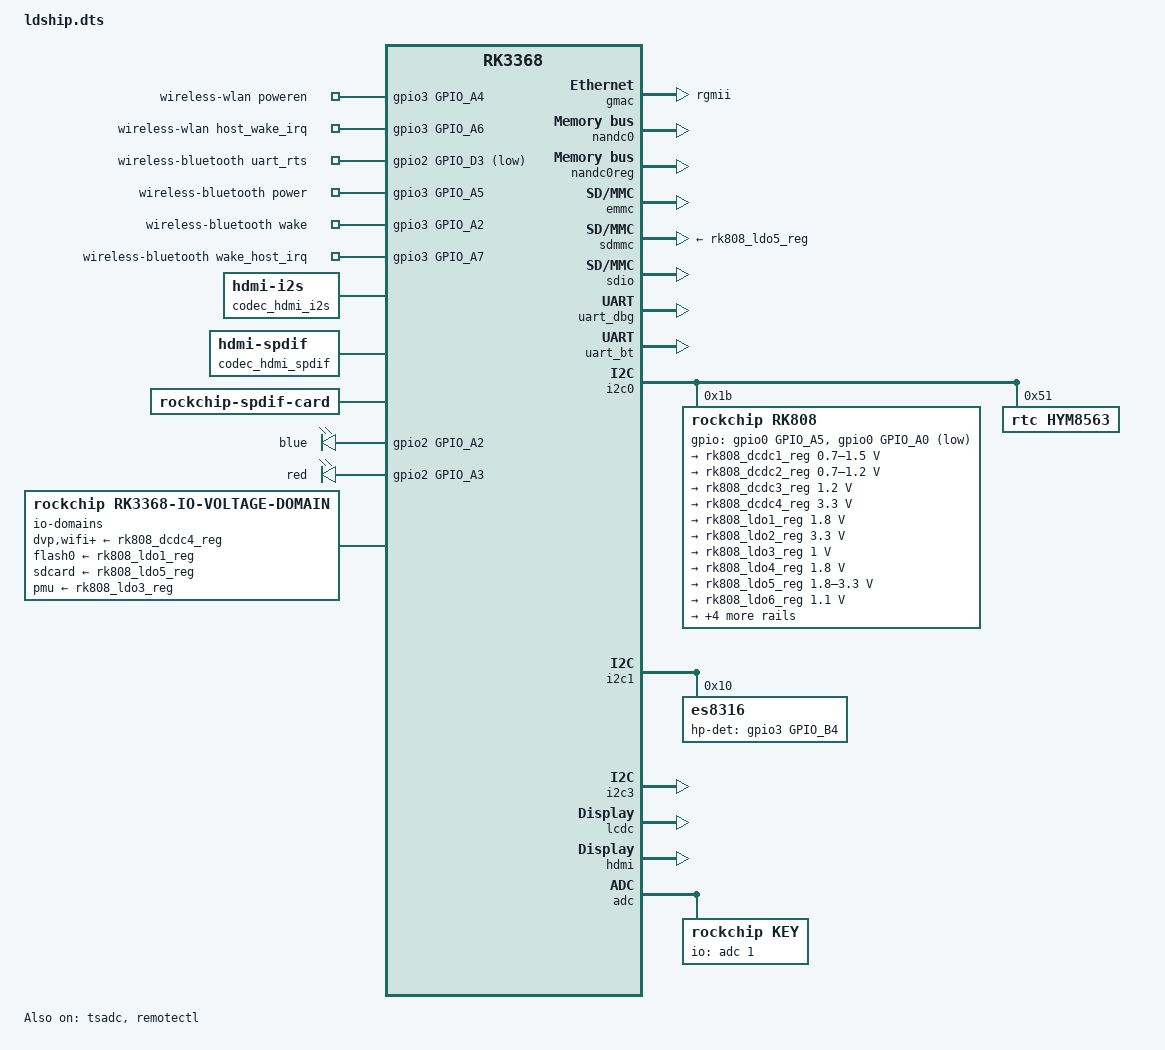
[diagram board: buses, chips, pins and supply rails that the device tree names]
/dts-v1/;

// rk3368-box-r88_808.dts
#include <dt-bindings/interrupt-controller/arm-gic.h>
#include <dt-bindings/rkfb/rk_fb.h>
#include <dt-bindings/input/input.h>
#include "rk3368.dtsi"
#include "../../../arm/boot/dts/lcd-box.dtsi"


/ {
	chosen {
		bootargs = "earlyprintk=uart8250-32bit,0xff690000";
	};

	wireless-wlan {
		compatible = "wlan-platdata";
                rockchip,grf = <&grf>;
                wifi_chip_type = "ap6354";

		sdio_vref = <1800>; //1800mv or 3300mv

		//keep_wifi_power_on;

		//power_ctrl_by_pmu;	// gQues
 		power_pmu_regulator = "rk808_ldo7_reg";
		power_pmu_enable_level = <1>; //1->HIGH, 0->LOW

		vref_pmu_regulator = "rk808_ldo7_reg";
		vref_pmu_enable_level = <1>; //1->HIGH, 0->LOW

		WIFI,poweren_gpio = <&gpio3 GPIO_A4 GPIO_ACTIVE_HIGH>;
		WIFI,host_wake_irq = <&gpio3 GPIO_A6 GPIO_ACTIVE_HIGH>;

		status = "okay";
	};

	wireless-bluetooth {
		compatible = "bluetooth-platdata";

		//wifi-bt-power-toggle;

		uart_rts_gpios = <&gpio2 GPIO_D3 GPIO_ACTIVE_LOW>;
		pinctrl-names = "default","rts_gpio";
		pinctrl-0 = <&uart0_rts>;
		pinctrl-1 = <&uart0_rts_gpio>;

		BT,power_gpio = <&gpio3 GPIO_A5 GPIO_ACTIVE_HIGH>;
		BT,wake_gpio = <&gpio3 GPIO_A2 GPIO_ACTIVE_HIGH>;
		BT,wake_host_irq = <&gpio3 GPIO_A7 GPIO_ACTIVE_HIGH>;
		status = "okay";
	};

	codec_hdmi_i2s: codec-hdmi-i2s {
		compatible = "hdmi-i2s";
	};

	codec_hdmi_spdif: codec-hdmi-spdif {
		compatible = "hdmi-spdif";
	};

	rockchip-hdmi-i2s {
		status = "disabled";
		compatible = "rockchip-hdmi-i2s";
		dais {
			dai0 {
				audio-codec = <&codec_hdmi_i2s>;
				i2s-controller = <&i2s0>;
				format = "i2s";
			};
		};
	};
	
	rockchip-spdif-card {
			compatible = "rockchip-spdif-card";
			dais {
				dai0 {
					audio-codec = <&codec_hdmi_spdif>;
					i2s-controller = <&spdif>;
				};
			};
		};
	rockchip-es8316 {
		compatible = "rockchip-es8316";
		dais {
			dai0 {
				audio-codec = <&es8316>;
				i2s-controller = <&i2s0>;
				format = "i2s";
			};
		};
	};
	power-led {
		compatible = "gpio-leds";
		blue {
			gpios = <&gpio2 GPIO_A2 GPIO_ACTIVE_HIGH>;
			default-state = "on";
		};
		red {
			gpios = <&gpio2 GPIO_A3 GPIO_ACTIVE_HIGH>;
			default-state = "off";
		};
	};
	io-domains {
		compatible = "rockchip,rk3368-io-voltage-domain";
		rockchip,grf = <&grf>;
		rockchip,pmugrf = <&pmugrf>;

		/*GRF_IO_VSEL*/
		dvp-supply = <&rk808_dcdc4_reg>;      /*DVPIO_VDD*/
		flash0-supply = <&rk808_ldo1_reg>;  /*FLASH0_VDD*/
		wifi-supply = <&rk808_dcdc4_reg>;     /*APIO2_VDD*/
		audio-supply = <&rk808_dcdc4_reg>;   /*APIO3_VDD*/
		sdcard-supply = <&rk808_ldo5_reg>;   /*SDMMC0_VDD*/
		gpio30-supply = <&rk808_dcdc4_reg>;  /*APIO1_VDD*/
		gpio1830-supply = <&rk808_dcdc4_reg>;/*ADIO4_VDD*/
		
		/*PMU_GRF_IO_VSEL*/
		pmu-supply = <&rk808_ldo3_reg>;      /*PMUIO_VDD*/
		vop-supply = <&rk808_ldo8_reg>;      /*LCDC_VDD*/
	};
};

&gmac_clkin {
        clock-frequency = <125000000>;
};

&gmac {
	phy-mode = "rgmii";
	pinctrl-names = "default";
	pinctrl-0 = <&rgmii_pins>;
	clock_in_out = "input";
	tx_delay = <0x28>;
	rx_delay = <0x10>;
	status = "okay";
};

&pinctrl {
	//used for init some gpio
	init-gpios = <&gpio0 GPIO_A6 GPIO_ACTIVE_HIGH
	&gpio0 GPIO_B1 GPIO_ACTIVE_LOW>;
	
	gpio0_gpio {
		gpio0_c7: gpio0-c7 {
		rockchip,pins = <0 GPIO_C7 RK_FUNC_GPIO &pcfg_pull_down>;
	};
	gpio0_a3: gpio0-a3 {
		rockchip,pins = <0 GPIO_A3 RK_FUNC_3 &pcfg_pull_none>;
	};
	gpio0_c2: gpio0-c2 {
		rockchip,pins = <0 GPIO_C2 RK_FUNC_GPIO &pcfg_pull_down>;
	};
	gpio0_a5: gpio0-a5{
		rockchip,pins = <0 GPIO_A5 RK_FUNC_GPIO &pcfg_pull_up>;
	};
	//to add
	};

};

&nandc0 {
	status = "okay"; // used nand set "disabled" ,used emmc set "okay"
};

&nandc0reg {
	status = "okay"; // used nand set "disabled" ,used emmc set "okay"
};

&emmc {
	clock-frequency = <150000000>;
	clock-freq-min-max = <400000 150000000>;

	supports-highspeed;
	supports-emmc;
	bootpart-no-access;

	//supports-sd;
	supports-DDR_MODE; //you should set the two value in your project. only close in RK3288-SDK board.
	caps2-mmc-hs200;

	ignore-pm-notify;
	keep-power-in-suspend;

	//poll-hw-reset
	status = "okay";
};

&sdmmc {
	clock-frequency = <50000000>;
	clock-freq-min-max = <400000 50000000>;
	supports-highspeed;
	supports-sd;
	broken-cd;
	card-detect-delay = <200>;
	
	ignore-pm-notify;
	keep-power-in-suspend;
	
	vmmc-supply = <&rk808_ldo5_reg>;
	status = "okay";
};

&sdio {
	clock-frequency = <50000000>;
	clock-freq-min-max = <200000 50000000>;
	supports-highspeed;
	supports-sdio;
	ignore-pm-notify;
	keep-power-in-suspend;
	//cap-sdio-irq;
	status = "okay";
};

&uart_dbg {
	status = "okay";
};

&uart_bt {
	status = "okay";
	dma-names = "!tx", "!rx";
	pinctrl-0 = <&uart0_xfer &uart0_cts>;
};

&tsadc {
       tsadc-tshut-mode = <0>; /* tshut mode 0:CRU 1:GPIO */
       //tsadc-tshut-polarity = <0>; /* tshut polarity 0:LOW 1:HIGH */
       status = "okay";
};

&i2c0 {
	status = "okay";
	rk808: rk808@1b {
		reg = <0x1b>;
		status = "okay";
		compatible = "rockchip,rk808";
	};	
	rtc@51 {
		compatible = "rtc,hym8563";
		reg = <0x51>;
		/*box not used rtc irq,and this pin used as rk1000 spk ctrl*/
		#irq_gpio = <&gpio0 GPIO_A1 IRQ_TYPE_EDGE_FALLING>;
	};

};

&i2c1 {
	status = "okay";
	es8316: es8316@10 {
		compatible = "es8316";
		reg = <0x10>;
		hp-det-gpio = <&gpio3 GPIO_B4 GPIO_ACTIVE_HIGH>;
		status = "okay";
	};
};

&i2c2 {
	status = "disabled";
};

&i2c3 {
	status = "okay";
};

&i2c4 {
	status = "disabled";
};

&i2c5 {
	status = "disabled";
};

&CPU_SLEEP_0 {
	arm,psci-suspend-param = <0x1010000>;
};

&fb {
	rockchip,disp-mode = <NO_DUAL>;
	rockchip,uboot-logo-on = <1>;
	rockchip,disp-policy = <DISPLAY_POLICY_BOX_TEMP>;
};

&rk_screen {
	display-timings = <&disp_timings>;
};

&disp_timings {
	native-mode = <&timing1>;
};


&lcdc {
	status = "okay";
	rockchip,mirror = <NO_MIRROR>;
	rockchip,cabc_mode = <0>;
	rockchip,fb-win-map = <FB_DEFAULT_ORDER>;
	pinctrl-names = "default", "gpio";
	pinctrl-0 = <&lcdc_lcdc>;
	pinctrl-1 = <&lcdc_gpio>;

	power_ctr: power_ctr {
		rockchip,debug = <0>;
		/*lcd_en:lcd_en {
			rockchip,power_type = <GPIO>;
			gpios = <&gpio1 GPIO_D5 GPIO_ACTIVE_LOW>;
			rockchip,delay = <10>;
		};*/
	};
};

&edp{
	status = "disabled";
};

&dsihost0{
	status = "disabled";
};

&hdmi {
	status = "okay";
	rockchip,cec_enable = <1>;
};

&adc {
	status = "okay";

	key {
		compatible = "rockchip,key";
		io-channels = <&adc 1>;

		power-key {
			gpios = <&gpio0 GPIO_A2 GPIO_ACTIVE_LOW>;
			linux,code = <116>;
			label = "power";
			gpio-key,wakeup;
		};

	};
};

&pwm1 {
        status = "disabled";
};

&clk_core_b_dvfs_table {
	operating-points = <
		/* KHz    uV */
		//216000 950000
		312000 950000
		408000 950000
		600000 975000
		696000 975000
		816000 1000000
		1008000 1100000
		1200000 1175000
		1416000 1300000
		1488000 1325000
		1512000 1350000
		>;
	status = "okay";
};

&clk_core_l_dvfs_table {
	operating-points = <
		/* KHz    uV */
		//216000 950000
		312000 950000
		408000 950000
		600000 950000
		696000 975000
		816000 1050000
		1008000 1100000
		1200000 1250000
		//1300000 1300000
		>;
	status = "okay";
};

&clk_gpu_dvfs_table {
	operating-points = <
		/* KHz    uV */
		//200000 1200000
		300000 1200000
		400000 1200000
		600000 1200000
		>;
};

&clk_ddr_dvfs_table {
	operating-points = <
		/* KHz    uV */
		200000 1050000
		300000 1050000
		400000 1100000
		533000 1150000
		800000 1200000
		>;

	freq-table = <
		/*status		freq(KHz)*/
		SYS_STATUS_NORMAL	800000
		/*SYS_STATUS_SUSPEND	200000
		SYS_STATUS_VIDEO_1080P  240000
		SYS_STATUS_VIDEO_4K     400000
		SYS_STATUS_PERFORMANCE  528000
		SYS_STATUS_DUALVIEW	400000
		SYS_STATUS_BOOST	324000
		SYS_STATUS_ISP		400000*/
		>;
	auto-freq-table = <
		240000
		324000
		396000
		528000
		>;
	auto-freq=<0>;
	status="okay";
};

&dwc_control_usb {
		otg_drv_gpio = <&gpio0 GPIO_A4 GPIO_ACTIVE_LOW>;

		rockchip,remote_wakeup;
		rockchip,usb_irq_wakeup;
	};
	
&usb0 {
	/*0 - Normal, 1 - Force Host, 2 - Force Device*/
	rockchip,usb-mode = <0>;
};

#include  "../../../arm/boot/dts/rk808.dtsi"
&rk808 {
	gpios =<&gpio0 GPIO_A5 GPIO_ACTIVE_HIGH>,<&gpio0 GPIO_A0 GPIO_ACTIVE_LOW>;
	rk808,system-power-controller;

	regulators {

		rk808_dcdc1_reg: regulator@0{
			regulator-name= "vdd_arm";/*vcc arm*/
			regulator-min-microvolt = <700000>;/*<725000>;*/
			regulator-max-microvolt = <1500000>;
			regulator-always-on;
			regulator-boot-on;
			regulator-initial-mode = <0x2>;
			regulator-initial-state = <3>;
			regulator-state-mem {
				regulator-state-mode = <0x2>;
				regulator-state-disabled;
				regulator-state-uv =<900000>;
			};
		};

		rk808_dcdc2_reg: regulator@1 {
			regulator-name= "vdd_logic";/*vcc gpu*/
			regulator-min-microvolt = <700000>;
			regulator-max-microvolt = <1200000>;
			regulator-always-on;
			regulator-boot-on;
			regulator-initial-mode = <0x2>;
			regulator-initial-state = <3>;
			regulator-state-mem {
				regulator-state-mode = <0x2>;
				regulator-state-enabled;
				regulator-state-uv = <1200000>;
			};
		};

		rk808_dcdc3_reg: regulator@2 {
			regulator-name= "vcc_ddr";
			regulator-min-microvolt = <1200000>;
			regulator-max-microvolt = <1200000>;
			regulator-always-on;
			regulator-boot-on;			
			regulator-initial-mode = <0x2>;
			regulator-initial-state = <3>;
			regulator-state-mem {
				regulator-state-mode = <0x2>;
				regulator-state-enabled;
				regulator-state-uv = <1200000>;
			};
		};

		rk808_dcdc4_reg: regulator@3 {
			regulator-name= "vccio";
			regulator-min-microvolt = <3300000>;
			regulator-max-microvolt = <3300000>;
			regulator-always-on;
			regulator-boot-on;			
			regulator-initial-mode = <0x2>;
			regulator-initial-state = <3>;
			regulator-state-mem {
				regulator-state-mode = <0x2>;
				regulator-state-enabled;
				regulator-state-uv = <3000000>;
			};
		};

		rk808_ldo1_reg: regulator@4 {
			regulator-name= "vcc_flash";
			regulator-min-microvolt = <1800000>;
			regulator-max-microvolt = <1800000>;
			regulator-always-on;
			regulator-boot-on;			
			regulator-initial-state = <3>;
			regulator-state-mem {
				regulator-state-enabled;
				regulator-state-uv = <1800000>;
			};
		};


		rk808_ldo2_reg: regulator@5 {
			regulator-name= "vcca_33";
			regulator-min-microvolt = <3300000>;
			regulator-max-microvolt = <3300000>;
			regulator-always-on;
			regulator-boot-on;			
			regulator-initial-state = <3>;
			regulator-state-mem {
				regulator-state-disabled;
				regulator-state-uv = <3300000>;
			};
		};		

		rk808_ldo3_reg: regulator@6 {
			regulator-name= "vdd_10";
			regulator-min-microvolt = <1000000>;
			regulator-max-microvolt = <1000000>;
			regulator-always-on;		
			regulator-initial-state = <3>;
			regulator-state-mem {
				regulator-state-enabled;
				regulator-state-uv = <1000000>;
			};
		};

		rk808_ldo4_reg:regulator@7 {
			regulator-name= "vcca_18";
			regulator-min-microvolt = <1800000>;
			regulator-max-microvolt = <1800000>;
			//regulator-always-on;
			regulator-boot-on;			
			regulator-initial-state = <3>;
			regulator-state-mem {
				regulator-state-disabled;
				regulator-state-uv = <1800000>;
			};
		};

		rk808_ldo5_reg: regulator@8 {
			regulator-name= "vccio_sd";
			regulator-min-microvolt = <1800000>;
			regulator-max-microvolt = <3300000>;
			regulator-always-on;
			regulator-boot-on;			
			regulator-initial-state = <3>;
			regulator-state-mem {
				regulator-state-enabled;
				regulator-state-uv = <3300000>;
			};
		};

		rk808_ldo6_reg: regulator@9 {
			regulator-name= "vdd10_lcd";
			regulator-min-microvolt = <1100000>;
			regulator-max-microvolt = <1100000>;
			regulator-always-on;
			regulator-boot-on;			
			regulator-initial-state = <3>;
			regulator-state-mem {
				regulator-state-disabled;
				regulator-state-uv = <1100000>;
			};
		};

		rk808_ldo7_reg: regulator@10 {
			regulator-name= "vcc_18";
			regulator-min-microvolt = <1800000>;
			regulator-max-microvolt = <1800000>;
			regulator-always-on;
			regulator-boot-on;			
			regulator-initial-state = <3>;
			regulator-state-mem {
				regulator-state-enabled;
				regulator-state-uv = <1800000>;
			};
		};

		rk808_ldo8_reg: regulator@11 {
			regulator-name= "vccio18_lcd";
			regulator-min-microvolt = <1800000>;
			regulator-max-microvolt = <1800000>;
			regulator-always-on;
			regulator-boot-on;			
			regulator-initial-state = <3>;
			regulator-state-mem {
				regulator-state-disabled;
				regulator-state-uv = <1800000>;
			};
		};
		
		rk808_ldo9_reg: regulator@12 {
			regulator-name= "vcc_sd";
			regulator-min-microvolt = <1800000>;
			regulator-max-microvolt = <3300000>;
			regulator-always-on;
			regulator-boot-on;			
			regulator-initial-state = <3>;
			regulator-state-mem {
				regulator-state-enabled;
				regulator-state-uv = <3300000>;
			};
		};

		rk808_ldo10_reg: regulator@13 {
			regulator-name= "vcc_lan";
			regulator-min-microvolt = <3300000>;
			regulator-max-microvolt = <3300000>;
			regulator-always-on;
			regulator-boot-on;			
			regulator-initial-state = <3>;
			regulator-state-mem {
				regulator-state-disabled;
				regulator-state-uv = <3300000>;
			};
		};

	};
};

&ion_cma {
       reg = <0x00000000 0x00000000>; /* 0MB */
};

&remotectl {
	handle_cpu_id = <1>;
	status = "okay";
	ir_key1{
		rockchip,usercode = <0xff00>;
		rockchip,key_table =
            <0xeb   KEY_POWER>,
            <0xec   KEY_MENU>,
            <0xfc   KEY_UP>,
            <0xfd   KEY_DOWN>,
            <0xf1   KEY_LEFT>,
            <0xe5   KEY_RIGHT>,
            <0xf8   KEY_REPLY>,
            <0xa7   KEY_VOLUMEDOWN>,
            <0xa3   388>,
            <0xf4   KEY_VOLUMEUP>,
            <0xfe   KEY_BACK>,
            <0xb7   KEY_HOME>;
	};
};
